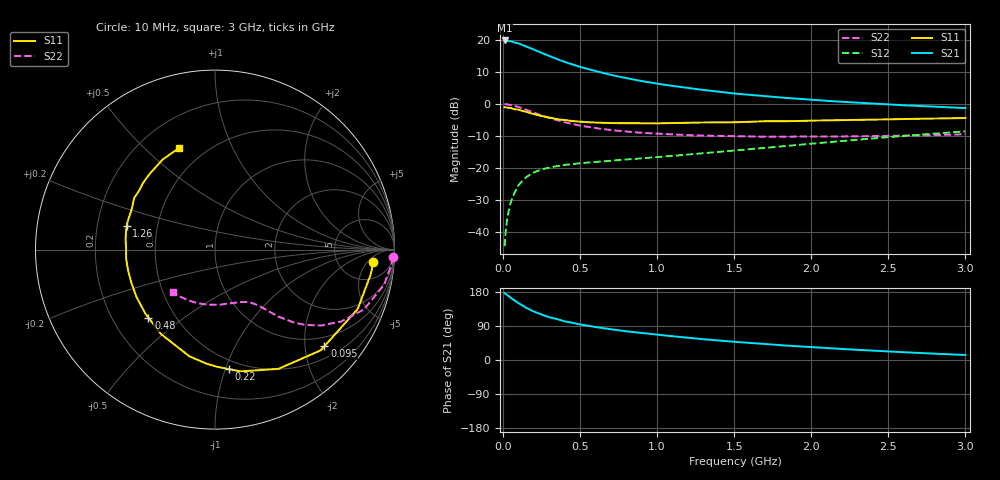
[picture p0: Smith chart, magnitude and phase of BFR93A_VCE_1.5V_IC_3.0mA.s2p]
! Infineon Technologies  Discrete & RF Semiconductors
! BFR93A
! VCE =  1.5 V,  IC =  3.0 mA
! Common Emitter S-Parameters:  Nov 2015
# GHz  S  MA  R  50
!  f  S11  S21  S12  S22
! GHz  MAG  ANG  MAG  ANG  MAG  ANG  MAG  ANG
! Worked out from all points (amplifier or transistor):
!   180 points, 10 MHz to 3 GHz, reference 50 ohm
!   highest |S21| = 19.8 dB at 10 MHz (marker M1)
!   |S21| within 3 dB of that: start of sweep to 207.4 MHz
!   unconditionally stable (mu >= 1): 860 MHz to end of sweep
!   at 160 MHz: K = 0.25, MSG = 20.1 dB, |S12| = -22.6 dB
!   at 1.22 GHz: K = 1.15, MAG = 7.9 dB, |S12| = -15.8 dB
!   at 3 GHz: K = 1.02, MAG = 2.8 dB, |S12| = -8.6 dB
!   S11 on the Smith chart (normalised r, x): 10 MHz: 11, -7; 95 MHz: 0.77, -2.44; 220 MHz: 0.42, -1.03; 480 MHz: 0.36, -0.38; 1.26 GHz: 0.33, +0.12; 3 GHz: 0.36, +0.64
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0.01  0.8846 -4.6  9.739 176.6  0.006 88.1  0.9908 -2.5
0.025  0.8723 -11.3  9.658 171.8  0.0149 82.8  0.9819 -5.9
0.05  0.8612 -22.6  9.458 163.8  0.029 77.7  0.9625 -11.7
0.095  0.8133 -41.4  8.803 151.4  0.0511 67.4  0.9004 -20.7
0.1  0.8137 -43.6  8.758 149.9  0.0536 66.8  0.895 -21.8
0.15  0.7526 -62.0  7.861 137.6  0.0717 58.1  0.8088 -29.7
0.2  0.6933 -78.2  7.021 127.7  0.0851 52.0  0.7285 -35.5
0.22  0.67 -83.5  6.686 124.6  0.0888 50.0  0.6995 -37.1
0.26  0.6375 -94.2  6.087 118.2  0.0959 46.5  0.6455 -40.3
0.3  0.6115 -103.5  5.569 112.8  0.1014 44.0  0.6001 -42.7
0.4  0.5584 -122.6  4.503 102.0  0.1113 40.3  0.5136 -46.6
0.48  0.5307 -134.3  3.905 95.6  0.1168 38.8  0.4683 -48.4
0.52  0.5222 -139.7  3.654 92.5  0.1193 38.5  0.4489 -49.3
0.6  0.5104 -149.3  3.229 86.9  0.1239 38.3  0.4168 -50.8
0.7  0.5011 -158.7  2.821 81.0  0.1297 38.6  0.3893 -52.6
0.9  0.4978 -174.4  2.259 71.2  0.1409 40.5  0.3526 -56.6
1.02  0.4962 178.1  2.027 65.9  0.1484 41.8  0.3398 -59.1
1.26  0.5088 165.1  1.693 56.4  0.166 44.3  0.3211 -65.9
1.52  0.5162 153.9  1.434 47.5  0.1879 46.5  0.311 -74.3
2.02  0.5474 136.5  1.146 33.4  0.2403 48.5  0.307 -92.6
2.52  0.574 122.3  0.972 22.2  0.3046 46.4  0.3162 -112.9
3  0.6004 109.3  0.857 13.2  0.3712 41.8  0.3346 -134.5
